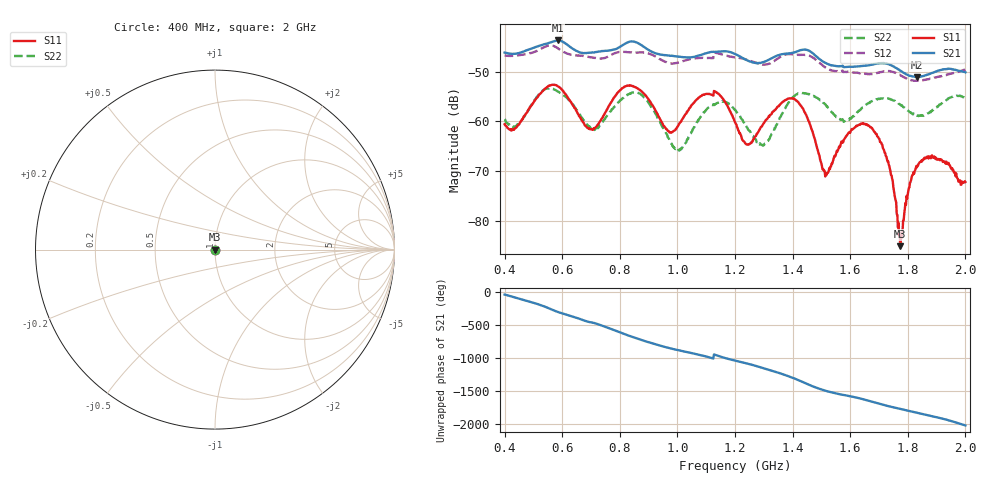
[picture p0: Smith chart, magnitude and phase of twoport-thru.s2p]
! PocketVna 1.60  pocketvna.com
! Live measurements ((Reflection-S11, Transmission-S21, Transmission-S12, Reflection-S22) Linear 400000000-2000000000/800 non-calibrated)
# Hz S RI R 50
! Hz  ReS11  ImS11  ReS21  ImS21  ReS12  ImS12  ReS22  ImS22
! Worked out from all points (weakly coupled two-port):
!   800 points, 400 MHz to 2 GHz, reference 50 ohm
!   highest |S21| = -43.74 dB at 586.2 MHz (marker M1); lowest = -51.1 dB at 1.832 GHz (marker M2)
!   lowest |S11| = -85.1 dB at 1.774 GHz (marker M3), VSWR 1.00, Z = 50 + j0.00137 ohm
!   |S11| at or under -10 dB: start of sweep to end of sweep
!   |S22| runs from -66.0 to -53.3 dB; largest |S21 - S12| = 0.0097
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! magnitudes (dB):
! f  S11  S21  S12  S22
! 400 MHz  -60.6  -46.2  -46.8  -59.6
! 586.2 MHz  -53.0  -43.7  -45.4  -54.0
! 668.3 MHz  -59.7  -46.2  -46.8  -59.3
! 718.4 MHz  -61.1  -46.0  -47.3  -61.4
! 830.5 MHz  -52.8  -44.1  -46.1  -54.6
! 934.7 MHz  -59.0  -46.5  -47.3  -59.5
! 974.7 MHz  -62.2  -46.8  -48.3  -64.1
! 1.007 GHz  -60.4  -47.0  -48.1  -65.9
! 1.135 GHz  -54.1  -46.0  -46.3  -56.4
! 1.201 GHz  -60.3  -46.5  -47.1  -57.7
! 1.245 GHz  -64.7  -47.8  -47.7  -61.6
! 1.297 GHz  -60.6  -48.1  -48.6  -64.9
! 1.397 GHz  -55.4  -46.3  -46.5  -55.4
! 1.467 GHz  -61.8  -46.2  -47.1  -54.8
! 1.515 GHz  -70.7  -48.3  -49.2  -56.7
! 1.577 GHz  -63.7  -49.1  -50.1  -60.1
! 1.644 GHz  -60.3  -48.9  -50.4  -57.2
! 1.734 GHz  -68.6  -48.5  -49.9  -55.4
! 1.774 GHz  -85.1  -49.8  -50.7  -56.6
! 1.832 GHz  -69.2  -51.1  -51.8  -58.9
! 1.89 GHz  -67.3  -50.2  -51.3  -57.6
! 2 GHz  -72.2  -50.1  -49.6  -55.3
